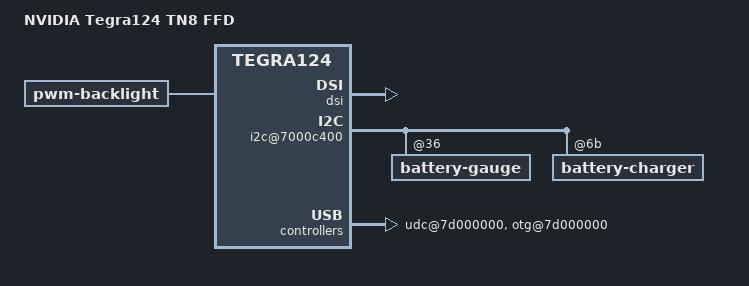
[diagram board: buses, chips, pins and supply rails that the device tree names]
/*
 * arch/arm/boot/dts/tegra124-tn8-p1761-1470-a00.dts
 *
 * Copyright (c) 2014, NVIDIA CORPORATION.  All rights reserved.
 *
 * This program is free software; you can redistribute it and/or modify
 * it under the terms of the GNU General Public License as published by
 * the Free Software Foundation; either version 2 of the License, or
 * (at your option) any later version.
 *
 * This program is distributed in the hope that it will be useful, but WITHOUT
 * ANY WARRANTY; without even the implied warranty of MERCHANTABILITY or
 * FITNESS FOR A PARTICULAR PURPOSE.  See the GNU General Public License for
 * more details.
 *
 * You should have received a copy of the GNU General Public License along
 * with this program; if not, write to the Free Software Foundation, Inc.,
 * 51 Franklin Street, Fifth Floor, Boston, MA  02110-1301, USA.
 */
/dts-v1/;

#include "tegra124-tn8.dtsi"
#include "tegra124-platforms/tegra124-tn8-dfll.dtsi"
#include "tegra124-platforms/tegra124-tn8-emc-p1761-1470-a00.dtsi"
#include "tegra124-platforms/tegra124-tn8-power-tree-e1936-1000-a00.dtsi"
#include "tegra124-platforms/tegra124-tn8-sensor-p1761-1470-a00.dtsi"
#include "tegra124-platforms/tegra124-tn8-pinmux-p1761-1470-a00.dtsi"
#include "tegra124-platforms/tegra124-tn8-gpio-p1761-1470-a00.dtsi"
#include "tegra124-platforms/tegra124-tn8-keys-e1780-1100-a02.dtsi"
#include "tegra124-platforms/tegra124-tn8-powermon-p1761-a00.dtsi"
#include "tegra124-platforms/tegra124-tn8-camera-p1761-a00.dtsi"
#include "tegra124-platforms/tegra124-tn8-sysedp-e1780-1100-a02.dtsi"
#include "panel-a-wxga-8-0.dtsi"
#include "panel-a-wuxga-8-0.dtsi"
#include "tegra124-platforms/tegra124-tn8-hdmi-p1761-1270-a00.dtsi"
#include "tegra124-platforms/tegra124-tn8-thermal-zone-p1761-1270-a00.dtsi"
#include "tegra124-platforms/tegra124-tn8-usb-devices.dtsi"
#include "tegra124-platforms/tegra124-tn8-comms.dtsi"

/ {
	model = "NVIDIA Tegra124 TN8 FFD";
	compatible = "nvidia,tn8", "nvidia,tegra124";
	nvidia,dtsfilename = __FILE__;
	nvidia,boardids = "1761:1470:0";
	#address-cells = <2>;
	#size-cells = <2>;

	chosen {
		bootargs = "tegraid=40.0.0.00.00 vmalloc=256M video=tegrafb console=ttyS0,115200n8 earlyprintk";
		linux,initrd-start = <0x85000000>;
		linux,initrd-end = <0x851bc400>;
	};

	firmware {
		android {
			compatible = "android,firmware";
			hardware = "tn8";
		};
	};

	host1x {
		/* tegradc.0 */
		dc@54200000 {
			status = "okay";
			nvidia,dc-flags = <TEGRA_DC_FLAG_ENABLED>;
			nvidia,emc-clk-rate = <204000000>;
			nvidia,cmu-enable = <1>;
			nvidia,low-v-win = <0x2>;
			nvidia,fb-bpp = <32>; /* bits per pixel */
			nvidia,fb-flags = <TEGRA_FB_FLIP_ON_PROBE>;
		};
		/* tegradc.1 */
		dc@54240000 {
			status = "okay";
			nvidia,dc-flags = <TEGRA_DC_FLAG_ENABLED>;
			nvidia,emc-clk-rate = <300000000>;
			nvidia,cmu-enable = <1>;
			nvidia,fb-bpp = <32>; /* bits per pixel */
			nvidia,fb-flags = <TEGRA_FB_FLIP_ON_PROBE>;
		};
		dsi {
			nvidia,dsi-controller-vs = <DSI_VS_1>;
			status = "okay";
			panel-a-wxga-8-0 {
				nvidia,dsi-dpd-pads = <DSIC_DPD_EN DSID_DPD_EN>;
				nvidia,dsi-boardinfo = <1761 0 0 0>;
				nvidia,panel-rst-gpio = <&gpio TEGRA_GPIO(H, 3) 0>; /* PH3 */
				nvidia,panel-bl-pwm-gpio = <&gpio TEGRA_GPIO(H, 1) 0>; /* PH1 */
				disp-default-out {
					nvidia,out-rotation = <180>;
				};
			};
			panel-a-wuxga-8-0 {
				nvidia,dsi-dpd-pads = <DSIC_DPD_EN DSID_DPD_EN>;
				nvidia,dsi-boardinfo = <1761 0 0 1>;
				nvidia,panel-rst-gpio = <&gpio TEGRA_GPIO(N, 4) 0>; /* PN4 */
				nvidia,panel-bl-pwm-gpio = <&gpio TEGRA_GPIO(H, 1) 0>; /* PH1 */
				disp-default-out {
					nvidia,out-rotation = <180>;
				};
			};
		};
	};

	psy_extcon {
		power-supply,y-cable-extcon-dev = "tegra-otg";
	};
	backlight {
		compatible = "pwm-backlight";
		status = "okay";
	};

	i2c@7000c400 {
		battery-gauge@36 {
			dt-override-status-odm-data = <0x00C00000 0x00400000>;
		};

		battery-charger@6b {
			charger {
				dt-override-status-odm-data = <0x00C00000 0x00400000>;
			};
		};
	};

	sysedp_batmon_calc {
		dt-override-status-odm-data = <0x00C00000 0x00400000>;
	};

	udc@7d000000 {
		nvidia,id-detection-type = <1>;
		nvidia,enable-pmu-vbus-detection;
		nvidia,enable-aca-rid-detection;
		extcon-cables = <&extcon_cable_xlate 0 &extcon_cable_xlate 2 &extcon_cable_xlate 5>;
		extcon-cable-names = "vbus", "aca-rb", "aca-rc";
		#extcon-cells = <1>;
		status = "okay";
	};

	otg@7d000000 {
		nvidia,enable-pmu-vbus-detection;
		nvidia,id-detection-type = <1>;
		nvidia,enable-y-cable-detection;
		nvidia,enable-aca-rid-detection;
		extcon-cables = <&extcon_cable_xlate 0 &extcon_cable_xlate 1 &extcon_cable_xlate 2 &extcon_cable_xlate 3 &extcon_cable_xlate 4 &extcon_cable_xlate 5>;
		extcon-cable-names = "vbus", "id", "aca-ra", "y-cable", "aca-rb", "aca-rc";
		#extcon-cells = <1>;
		status = "okay";
	};

	ehci@7d000000 {
		nvidia,port-otg;
		nvidia,has-hostpc;
		nvidia,turn_off_vbus_on_lp0;
		nvidia,id-detection-type = <2>;
		nvidia,hssync-start-delay = <0>;
		nvidia,idle-wait-delay = <17>;
		nvidia,elastic-limit = <16>;
		nvidia,term-range-adj = <6>;
		nvidia,xcvr-setup = <15>;
		nvidia,xcvr-lsfslew = <2>;
		nvidia,xcvr-lsrslew = <2>;
		nvidia,xcvr-use-fuses;
		nvidia,vbus-oc-map = <4>;
		nvidia,xcvr-setup-offset = <0>;
		status = "disabled";
	};
};

